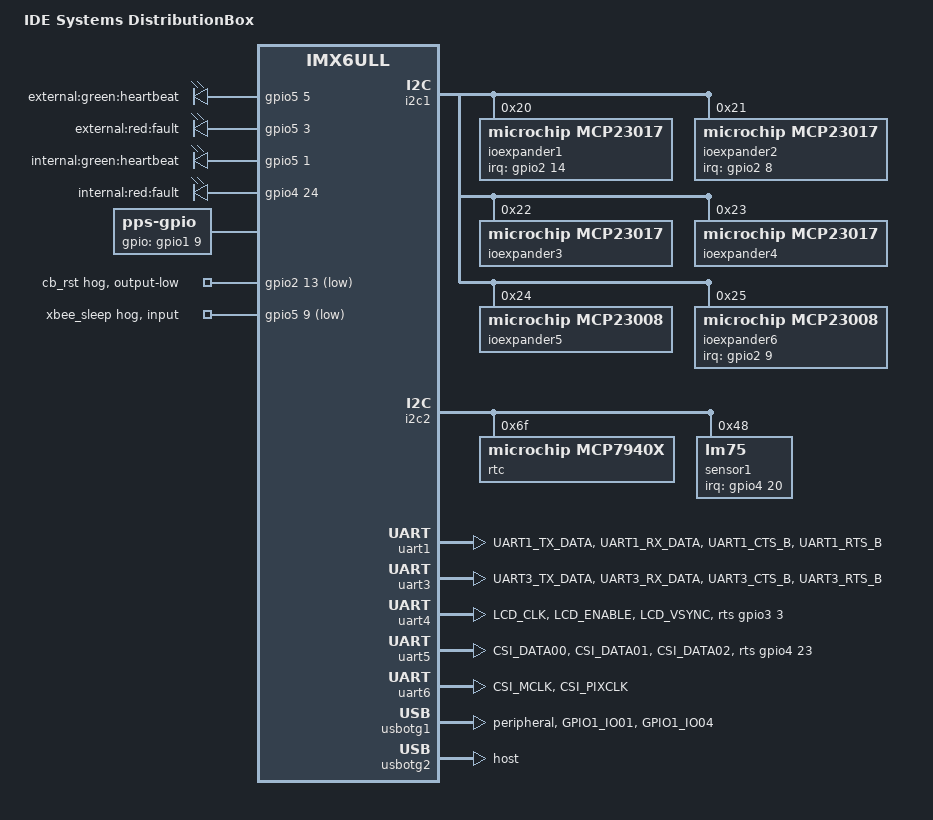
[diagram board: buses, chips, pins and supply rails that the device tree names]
/*
 * Copyright (C) 2018 Amotus Solutions, Inc.
 */

/dts-v1/;

#include "imx6ull-dart6ul.dtsi"
#include "imx6ull-dart6ul-emmc-wifi.dtsi"
#include "imx6ull-dart6ul-ethernet.dtsi"

/ {
	model = "IDE Systems DistributionBox";
	compatible = "ide,imx6ull-dart6ul-ide", "fsl,imx6ull";

	chosen {
		stdout-path = &uart1;
	};

	leds {
		pinctrl-names = "default";
		pinctrl-0 = <&pinctrl_led1 &pinctrl_led2>;

		compatible = "gpio-leds";

		led1 {
			label = "external:green:heartbeat";
			gpios = <&gpio5 5 GPIO_ACTIVE_HIGH>;
			linux,default-trigger = "heartbeat";
			default-state = "on";
		};

		led2 {
			label = "external:red:fault";
			gpios = <&gpio5 3 GPIO_ACTIVE_HIGH>;
			default-state = "on";
		};

		led3 {
			label = "internal:green:heartbeat";
			gpios = <&gpio5 1 GPIO_ACTIVE_HIGH>;
			linux,default-trigger = "hearbeat";
			default-state = "on";
		};

		led4 {
			label = "internal:red:fault";
			gpios = <&gpio4 24 GPIO_ACTIVE_HIGH>;
			default-state = "on";
		};
	};

	pps {
		pinctrl-names = "default";
		pinctrl-0 = <&pinctrl_pps>;
		compatible = "pps-gpio";
		gpios = <&gpio1 9 GPIO_ACTIVE_HIGH>;
		status = "okay";
	};
};

&i2c1 {
	/* breaker status inputs 1-16 */
	ioexpander1: ioexpander@20 {
		compatible = "microchip,mcp23017";
		gpio-controller;
		#gpio-cells = <2>;
		reg = <0x20>;

		interrupt-parent = <&gpio2>;
		interrupts = <14 IRQ_TYPE_LEVEL_LOW>;
		interrupt-controller;
		#interrupt-cells = <2>;
		microchip,irq-mirror;
	};

	/* breaker status inputs 17-32 */
	ioexpander2: ioexpander@21 {
		compatible = "microchip,mcp23017";
		gpio-controller;
		#gpio-cells = <2>;
		reg = <0x21>;

		interrupt-parent = <&gpio2>;
		interrupts = <8 IRQ_TYPE_LEVEL_LOW>;
		interrupt-controller;
		#interrupt-cells = <2>;
		microchip,irq-mirror;
	};

	/* contactor control outputs 1-16 */
	ioexpander3: ioexpander@22 {
		compatible = "microchip,mcp23017";
		gpio-controller;
		#gpio-cells = <2>;
		reg = <0x22>;
	};

	/* contactor control outputs 17-32 */
	ioexpander4: ioexpander@23 {
		compatible = "microchip,mcp23017";
		gpio-controller;
		#gpio-cells = <2>;
		reg = <0x23>;
	};

	/* relay outputs */
	ioexpander5: ioexpander@24 {
		compatible = "microchip,mcp23008";
		gpio-controller;
		#gpio-cells = <2>;
		reg = <0x24>;
	};

	/* switch inputs */
	ioexpander6: ioexpander6@25 {
		compatible = "microchip,mcp23008";
		gpio-controller;
		#gpio-cells = <2>;
		reg = <0x25>;

		interrupt-parent = <&gpio2>;
		interrupts = <9 IRQ_TYPE_LEVEL_LOW>;
		interrupt-controller;
		#interrupt-cells = <2>;
	};
};

&i2c2 {
	rtc: mcp7940x@6f {
		compatible = "microchip,mcp7940x";
		reg = <0x6f>;
	};

	sensor1: lm75@48 {
		compatible = "lm75";
		reg = <0x48>;
		interrupt-parent = <&gpio4>;
		interrupts = <20 IRQ_TYPE_LEVEL_LOW>;
		#thermal-sensor-cells = <0>;
	};
};

/* ttymxc0 - debug uart */
&uart1 {
	pinctrl-names = "default";
	pinctrl-0 = <&pinctrl_uart1>;
	uart-has-rtscts;
	status = "okay";
};

/* ttymxc2 uart - xbee */
&uart3 {
	pinctrl-names = "default";
	pinctrl-0 = <&pinctrl_uart3>;
	uart-has-rtscts;
	status = "okay";
};

/* ttymxc3 uart - rs485-1 */
&uart4 {
	pinctrl-names = "default";
	pinctrl-0 = <&pinctrl_uart4>;
	linux,rs485-enabled-at-boot-time;
	rts-gpios = <&gpio3 3 GPIO_ACTIVE_HIGH>;
	/* uart-has-rtscts; */
	/* fsl,dte-mode; */
	status = "okay";
};

/* ttymxc4 uart - rs485-2 */
&uart5 {
	pinctrl-names = "default";
	pinctrl-0 = <&pinctrl_uart5>;
	linux,rs485-enabled-at-boot-time;
	rts-gpios = <&gpio4 23 GPIO_ACTIVE_HIGH>;
	/* uart-has-rtscts; */
	/* fsl,dte-mode; */
	status = "okay";
};

/* ttymxc5 uart - gps */
&uart6 {
	pinctrl-names = "default";
	pinctrl-0 = <&pinctrl_uart6>;
	status = "okay";
};

&usbotg1 {
	pinctrl-names = "default";
	pinctrl-0 = <&pinctrl_usbotg1>;
	dr_mode = "peripheral";
	status = "okay";
};

&usbotg2 {
	dr_mode = "host";
	disable-over-current;
	status = "okay";
};

&gpio1 {
	gpio-line-names = "CB_GPIOF", "", "", "", "", "CB_GPIOE", "", "",
	"", "", "", "METER_RST", "METER_ID0", "METER_ID1", "METER_ADR0", "METER_ADR1",
	"", "", "", "", "", "", "", "",
	"", "", "", "", "", "", "", "";
};

&gpio2 {
	gpio-line-names = "", "", "", "", "", "", "", "",
	"", "", "CB_ID0", "CB_ID1", "CB_GPIOA", "CB_RST", "", "CB_GPIOB",
	"", "", "", "", "", "", "", "",
	"", "", "", "", "", "", "", "";

	cb_rst {
		gpios = <13 GPIO_ACTIVE_LOW>;
		gpio-hog;
		output-low;
	};
};

&gpio4 {
	gpio-line-names = "", "", "", "", "", "", "", "",
	"", "", "", "", "", "", "", "",
	"", "", "", "", "", "", "", "",
	"", "METER_PC7", "METER_PC8", "METER_PC10", "METER_PC9", "", "", "";
};

&gpio5 {
	gpio-line-name = "", "", "", "", "", "", "", "",
	"XBEE_RST", "XBEE_SLEEP", "", "", "", "", "", "",
	"", "", "", "", "", "", "", "",
	"", "", "", "", "", "", "", "";

	xbee_sleep {
		gpios = <9 GPIO_ACTIVE_LOW>;
		gpio-hog;
		input;
	};
};

&iomuxc {
	pinctrl-names = "default";
	pinctrl-0 = <&pinctrl_hog1>;

	pinctrl_hog1: hog1grp {
		fsl,pins = <
		/* Control board gpios */
		MX6UL_PAD_ENET2_RX_DATA0__GPIO2_IO08   0x1b0b0 /* CB_INT1 */
		MX6UL_PAD_ENET2_RX_DATA1__GPIO2_IO09   0x1b0b0 /* CB_INT2 */
		MX6UL_PAD_ENET2_RX_EN__GPIO2_IO10      0x1b0b0 /* CB_ID0 */
		MX6UL_PAD_ENET2_TX_DATA0__GPIO2_IO11   0x1b0b0 /* CB_ID1 */
		MX6UL_PAD_ENET2_TX_DATA1__GPIO2_IO12   0x1b0b0 /* CB_GPIOA */
		MX6UL_PAD_ENET2_TX_EN__GPIO2_IO13      0x1b0b0 /* CB_RST */
		MX6UL_PAD_ENET2_TX_CLK__GPIO2_IO14     0x1b0b0 /* CB_INT0 */
		MX6UL_PAD_ENET2_RX_ER__GPIO2_IO15      0x1b0b0 /* CB_GPIOB */
		/* MX6UL_PAD_GPIO1_IO06__GPIO1_IO06       0x1b0b0 /\* CB_GPIOC *\/ */
		/* MX6UL_PAD_GPIO1_IO07__GPIO1_IO07       0x1b0b0 /\* CB_GPIOD *\/ */
		MX6UL_PAD_GPIO1_IO05__GPIO1_IO05       0x1b0b0 /* CB_GPIOE */
		MX6UL_PAD_GPIO1_IO00__GPIO1_IO00       0x1b0b0 /* CB_GPIOF */
		/* Meter gpios */
		MX6UL_PAD_JTAG_TMS__GPIO1_IO11	       0x1b0b0 /* METER_RSTn */
		MX6UL_PAD_JTAG_TDO__GPIO1_IO12	       0x1b0b0 /* METER_ID_B0 */
		MX6UL_PAD_JTAG_TDI__GPIO1_IO13	       0x1b0b0 /* METER_ID_B1 */
		MX6UL_PAD_JTAG_TCK__GPIO1_IO14	       0x1b0b0 /* METER_ADR_B0 */
		MX6UL_PAD_JTAG_TRST_B__GPIO1_IO15      0x1b0b0 /* METER_ADR_B1 */
		MX6UL_PAD_CSI_DATA04__GPIO4_IO25       0x1b0b0 /* METER_PC7 */
		MX6UL_PAD_CSI_DATA05__GPIO4_IO26       0x1b0b0 /* METER_PC8 */
		MX6UL_PAD_CSI_DATA06__GPIO4_IO27       0x1b0b0 /* METER_PC10 */
		MX6UL_PAD_CSI_DATA07__GPIO4_IO28       0x1b0b0 /* METER_PC9 */
		>;
	};

	pinctrl_uart1: uart1grp {
		fsl,pins = <
		MX6UL_PAD_UART1_TX_DATA__UART1_DCE_TX	0x1b0b1
		MX6UL_PAD_UART1_RX_DATA__UART1_DCE_RX	0x1b0b1
		MX6UL_PAD_UART1_CTS_B__UART1_DCE_CTS	0x1b0b1
		MX6UL_PAD_UART1_RTS_B__UART1_DCE_RTS	0x1b0b1
		>;
	};

	pinctrl_gpspwr: gpspwrgrp {
		fsl,pins = <
		MX6UL_PAD_JTAG_MOD__GPIO1_IO10	       0x0b0b0 /* GPS power-enable */
		>;
	};

	pinctrl_sensor: sensorgrp {
		fsl,pins = <
		MX6UL_PAD_CSI_HSYNC__GPIO4_IO20	       0x1b0b0 /* Over temperature irq */
		>;
	};

	pinctrl_pps: ppsgrp {
		fsl,pins = <
		MX6UL_PAD_GPIO1_IO09__GPIO1_IO09       0x1b0b0 /* GPS PPS (default: 1Hz) */
		>;
	};

	pinctrl_led1: ledgrp {
		fsl,pins = <
		MX6UL_PAD_CSI_DATA03__GPIO4_IO24       0x1b0b0 /* Internal red led */
		>;
	};

	pinctrl_usbotg1: usbotg1grp {
		fsl,pins = <
		MX6UL_PAD_GPIO1_IO01__USB_OTG1_OC      0x1b0b0
		MX6UL_PAD_GPIO1_IO04__USB_OTG1_PWR     0x80000000
		>;
	};

	pinctrl_uart3: uart3grp {
		fsl,pins = <
		MX6UL_PAD_UART3_TX_DATA__UART3_DCE_TX	0x1b0b1
		MX6UL_PAD_UART3_RX_DATA__UART3_DCE_RX	0x1b0b1
		MX6UL_PAD_UART3_CTS_B__UART3_DCE_CTS	0x1b0b1
		MX6UL_PAD_UART3_RTS_B__UART3_DCE_RTS	0x1b0b1
		>;
	};

	pinctrl_uart4: uart4grp {
		fsl,pins = <
		MX6UL_PAD_LCD_CLK__UART4_DCE_TX		0x1b0b1
		MX6UL_PAD_LCD_ENABLE__UART4_DCE_RX	0x1b0b1
		/* TODO: Connect both RTS and CTS */
		/* MX6UL_PAD_LCD_VSYNC__UART4_DCE_RTS	0x1b0b1 */
		MX6UL_PAD_LCD_VSYNC__GPIO3_IO03         0x1b0b1
		>;
	};

	pinctrl_uart5: uart5grp {
		fsl,pins = <
		MX6UL_PAD_CSI_DATA00__UART5_DCE_TX	0x1b0b1
		MX6UL_PAD_CSI_DATA01__UART5_DCE_RX	0x1b0b1
		/* TODO: Connect both RTS and CTS */
		/* MX6UL_PAD_CSI_DATA02__UART5_DCE_RTS	0x1b0b1 */
		MX6UL_PAD_CSI_DATA02__GPIO4_IO23        0x1b0b1
		>;
	};

	pinctrl_uart6: uart6grp {
		fsl,pins = <
		MX6UL_PAD_CSI_MCLK__UART6_DCE_TX	0x1b0b1
		MX6UL_PAD_CSI_PIXCLK__UART6_DCE_RX	0x1b0b1
		>;
	};
};

&iomuxc_snvs {
	pinctrl-names = "default";
	pinctrl-0 = <&pinctrl_xbee>;

	pinctrl_led2: ledgrp {
		fsl,pins = <
		MX6ULL_PAD_SNVS_TAMPER5__GPIO5_IO05	0x1b0b0 /* External green led */
		MX6ULL_PAD_SNVS_TAMPER3__GPIO5_IO03	0x1b0b0 /* External red led */
		MX6ULL_PAD_SNVS_TAMPER1__GPIO5_IO01	0x1b0b0 /* Internal green led */
		>;
	};

	pinctrl_xbee: xbeegrp {
		fsl,pins = <
		MX6ULL_PAD_SNVS_TAMPER8__GPIO5_IO08	0x1b0b0 /* XBee reset */
		MX6ULL_PAD_SNVS_TAMPER9__GPIO5_IO09	0x1b0b0 /* XBee sleep */
		>;
	};

	pinctrl_alarm: alarmgrp {
		fsl,pins = <
		MX6ULL_PAD_SNVS_TAMPER7__GPIO5_IO07	0x1b0b0 /* RTC alarm */
		>;
	};
};
